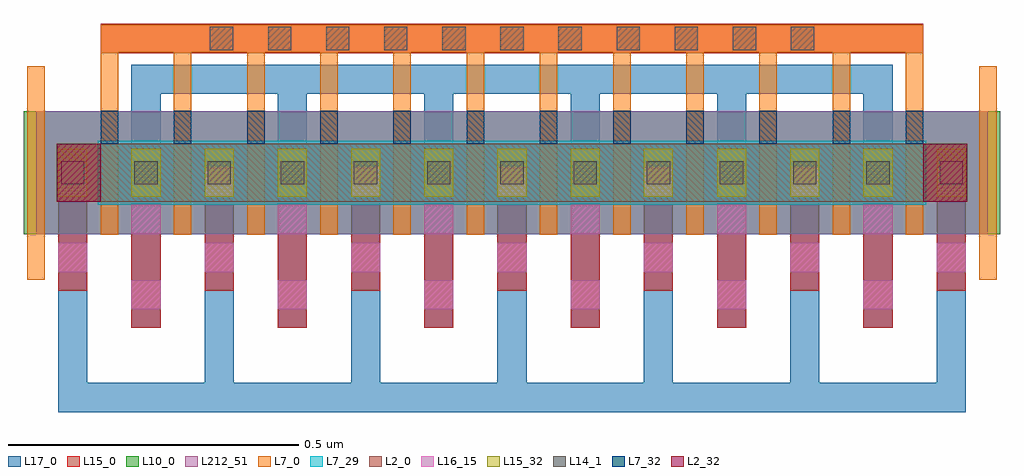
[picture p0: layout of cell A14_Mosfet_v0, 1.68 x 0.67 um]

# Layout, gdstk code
import gdstk
lib = gdstk.Library(unit=1e-6, precision=1e-09)
def R(c, l, rs):  # rectangles x0, y0, x1, y1
    for r in rs: c.add(gdstk.rectangle(r[:2], r[2:], *l))
def A(c, l, x, y, w, h, nx, ny, dx, dy):  # array of equal rectangles
    R(c, l, [(x+i*dx, y+j*dy, x+i*dx+w, y+j*dy+h) for i in range(nx) for j in range(ny)])
L2_0 = (2, 0)
L2_32 = (2, 32)
L7_0 = (7, 0)
L7_29 = (7, 29)
L7_32 = (7, 32)
L10_0 = (10, 0)
L14_1 = (14, 1)
L15_0 = (15, 0)
L15_32 = (15, 32)
L16_15 = (16, 15)
L17_0 = (17, 0)
L212_51 = (212, 51)

a14_mosfet_v0_srf_source = lib.new_cell('A14_Mosfet_v0:SRF_Source_ViaM1M2:SRF_ViaM1M2')
R(a14_mosfet_v0_srf_source, L15_0, [(0,-0.162,0.05,0.082)])
R(a14_mosfet_v0_srf_source, L16_15, [(0,-0.13,0.05,-0.08), (0,0,0.05,0.05)])
R(a14_mosfet_v0_srf_source, L17_0, [(0,-0.162,0.05,0.082)])

c_a14_mosfet_v0_srf_source = lib.new_cell('A14_Mosfet_v0:SRF_Source_ViaM1M2')
c_a14_mosfet_v0_srf_source.add(gdstk.Reference(a14_mosfet_v0_srf_source, (-0.025,0.04)))

a14_mosfet_v0_srf_drain_ = lib.new_cell('A14_Mosfet_v0:SRF_Drain_ViaM1M2:SRF_ViaM1M2')
R(a14_mosfet_v0_srf_drain_, L15_0, [(0,-0.162,0.05,0.082)])
R(a14_mosfet_v0_srf_drain_, L16_15, [(0,-0.13,0.05,-0.08), (0,0,0.05,0.05)])
R(a14_mosfet_v0_srf_drain_, L17_0, [(0,-0.162,0.05,0.082)])

c_a14_mosfet_v0_srf_drain_ = lib.new_cell('A14_Mosfet_v0:SRF_Drain_ViaM1M2')
c_a14_mosfet_v0_srf_drain_.add(gdstk.Reference(a14_mosfet_v0_srf_drain_, (-0.025,0.04)))

a14_mosfet_v0_srf_gate_v = lib.new_cell('A14_Mosfet_v0:SRF_Gate_ViaM0Mx:SRF_ViaM0M1')
R(a14_mosfet_v0_srf_gate_v, L7_0, [(-0.01,-0.004,1.05,0.044)])
A(a14_mosfet_v0_srf_gate_v, L14_1, 0, 0, 0.04, 0.04, 11, 1, 0.1, 0)
R(a14_mosfet_v0_srf_gate_v, L15_0, [(-0.021,-0.005,1.061,0.045)])

c_a14_mosfet_v0_srf_gate_v = lib.new_cell('A14_Mosfet_v0:SRF_Gate_ViaM0Mx')
c_a14_mosfet_v0_srf_gate_v.add(gdstk.Reference(a14_mosfet_v0_srf_gate_v, (-0.52,-0.02)))

a14_mosfet_v0 = lib.new_cell('A14_Mosfet_v0')
R(a14_mosfet_v0, L2_0, [(-0.076,0.057,1.492,0.157)])
R(a14_mosfet_v0, L2_32, [(-0.076,0.057,0,0.157), (1.416,0.057,1.492,0.157)])
A(a14_mosfet_v0, L7_0, 0, 0, 0.03, 0.214, 12, 1, 0.126, 0)
A(a14_mosfet_v0, L7_0, 0, 0.214, 0.03, 0.1, 12, 1, 0.126, 0)
R(a14_mosfet_v0, L7_0, [(-0.126,-0.077,-0.096,0.29), (1.512,-0.077,1.542,0.29), (0,0.314,1.416,0.362)])
R(a14_mosfet_v0, L7_29, [(-0.005,0.052,1.421,0.162)])
A(a14_mosfet_v0, L7_32, 0, 0.157, 0.03, 0.057, 12, 1, 0.126, 0)
R(a14_mosfet_v0, L10_0, [(-0.132,0.001,1.548,0.213)])
A(a14_mosfet_v0, L14_1, -0.068, 0.087, 0.04, 0.04, 13, 1, 0.126, 0)
R(a14_mosfet_v0, L15_0, [(-0.073,0.066,-0.023,0.148), (-0.073,0.066,-0.023,0.148), (0.053,0.066,0.103,0.148), (0.053,0.066,0.103,0.148), (0.179,0.066,0.229,0.148), (0.179,0.066,0.229,0.148), (0.305,0.066,0.355,0.148), (0.305,0.066,0.355,0.148), (0.431,0.066,0.481,0.148), (0.431,0.066,0.481,0.148), (0.557,0.066,0.607,0.148), (0.557,0.066,0.607,0.148), (0.683,0.066,0.733,0.148), (0.683,0.066,0.733,0.148), (0.809,0.066,0.859,0.148), (0.809,0.066,0.859,0.148), (0.935,0.066,0.985,0.148), (0.935,0.066,0.985,0.148), (1.061,0.066,1.111,0.148), (1.061,0.066,1.111,0.148), (1.187,0.066,1.237,0.148), (1.187,0.066,1.237,0.148), (1.313,0.066,1.363,0.148), (1.313,0.066,1.363,0.148), (1.439,0.066,1.489,0.148), (1.439,0.066,1.489,0.148), (0,0.313,1.416,0.363)])
A(a14_mosfet_v0, L15_32, -0.073, 0.066, 0.05, 0.082, 13, 1, 0.126, 0)
A(a14_mosfet_v0, L17_0, -0.073, -0.255, 0.05, 0.403, 7, 1, 0.252, 0)
A(a14_mosfet_v0, L17_0, 0.053, 0.084, 0.05, 0.159, 6, 1, 0.252, 0)
R(a14_mosfet_v0, L17_0, [(-0.073,-0.305,1.489,-0.255), (0.053,0.243,1.363,0.293)])
R(a14_mosfet_v0, L212_51, [(-0.111,0.001,1.527,0.213)])
a14_mosfet_v0.add(gdstk.Reference(c_a14_mosfet_v0_srf_source, (-0.048,0.026)))
a14_mosfet_v0.add(gdstk.Reference(c_a14_mosfet_v0_srf_source, (0.204,0.026)))
a14_mosfet_v0.add(gdstk.Reference(c_a14_mosfet_v0_srf_source, (0.456,0.026)))
a14_mosfet_v0.add(gdstk.Reference(c_a14_mosfet_v0_srf_source, (0.708,0.026)))
a14_mosfet_v0.add(gdstk.Reference(c_a14_mosfet_v0_srf_source, (0.96,0.026)))
a14_mosfet_v0.add(gdstk.Reference(c_a14_mosfet_v0_srf_source, (1.212,0.026)))
a14_mosfet_v0.add(gdstk.Reference(c_a14_mosfet_v0_srf_source, (1.464,0.026)))
a14_mosfet_v0.add(gdstk.Reference(c_a14_mosfet_v0_srf_drain_, (0.078,-0.038)))
a14_mosfet_v0.add(gdstk.Reference(c_a14_mosfet_v0_srf_drain_, (0.33,-0.038)))
a14_mosfet_v0.add(gdstk.Reference(c_a14_mosfet_v0_srf_drain_, (0.582,-0.038)))
a14_mosfet_v0.add(gdstk.Reference(c_a14_mosfet_v0_srf_drain_, (0.834,-0.038)))
a14_mosfet_v0.add(gdstk.Reference(c_a14_mosfet_v0_srf_drain_, (1.086,-0.038)))
a14_mosfet_v0.add(gdstk.Reference(c_a14_mosfet_v0_srf_drain_, (1.338,-0.038)))
a14_mosfet_v0.add(gdstk.Reference(c_a14_mosfet_v0_srf_gate_v, (0.708,0.338)))

lib.write_gds('A14_Mosfet_v0.gds')
